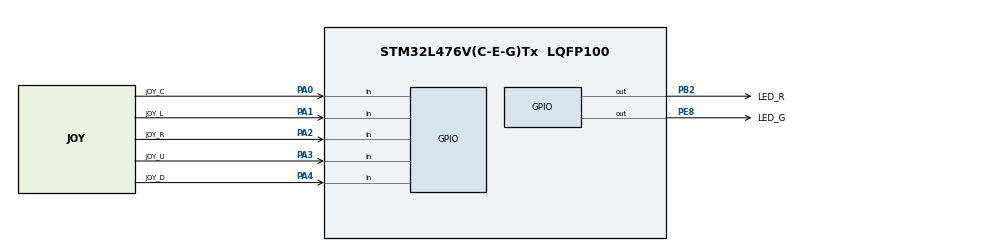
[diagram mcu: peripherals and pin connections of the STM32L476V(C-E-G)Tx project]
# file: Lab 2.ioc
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Mcu.Family=STM32L4
Mcu.Name=STM32L476V(C-E-G)Tx
Mcu.Package=LQFP100
NVIC.PriorityGroup=NVIC_PRIORITYGROUP_4
PA0.GPIO_Label=JOY_C
PA0.GPIO_PuPd=GPIO_PULLDOWN
PA0.Signal=GPIO_Input
PA1.GPIO_Label=JOY_L
PA1.GPIO_PuPd=GPIO_PULLDOWN
PA1.Signal=GPIO_Input
PA2.GPIO_Label=JOY_R
PA2.GPIO_PuPd=GPIO_PULLDOWN
PA2.Signal=GPIO_Input
PA3.GPIO_Label=JOY_U
PA3.GPIO_PuPd=GPIO_PULLDOWN
PA3.Signal=GPIO_Input
PA4.GPIO_Label=JOY_D
PA4.GPIO_PuPd=GPIO_PULLDOWN
PA4.Signal=GPIO_Input
PB2.GPIO_Label=LED_R
PB2.GPIO_ModeDefaultOutputPP=GPIO_MODE_OUTPUT_PP
PB2.PinState=GPIO_PIN_SET
PB2.Signal=GPIO_Output
PE8.GPIO_Label=LED_G
PE8.PinState=GPIO_PIN_SET
PE8.Signal=GPIO_Output
ProjectManager.HeapSize=0x200
ProjectManager.StackSize=0x400
ProjectManager.TargetToolchain=MDK-ARM V5
RCC.HSE_VALUE=8000000
RCC.HSI_VALUE=16000000
RCC.LSE_VALUE=32768
RCC.MSI_VALUE=4000000
RCC.VCOOutputFreq_Value=32000000
board=custom

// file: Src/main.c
/* USER CODE BEGIN Header */
/**
  ******************************************************************************
  * @file           : main.c
  * @brief          : Main program body
  ******************************************************************************
  ** This notice applies to any and all portions of this file
  * that are not between comment pairs USER CODE BEGIN and
  * USER CODE END. Other portions of this file, whether
  * inserted by the user or by software development tools
  * are owned by their respective copyright owners.
  *
  * COPYRIGHT(c) 2019 STMicroelectronics
  *
  * Redistribution and use in source and binary forms, with or without modification,
  * are permitted provided that the following conditions are met:
  *   1. Redistributions of source code must retain the above copyright notice,
  *      this list of conditions and the following disclaimer.
  *   2. Redistributions in binary form must reproduce the above copyright notice,
  *      this list of conditions and the following disclaimer in the documentation
  *      and/or other materials provided with the distribution.
  *   3. Neither the name of STMicroelectronics nor the names of its contributors
  *      may be used to endorse or promote products derived from this software
  *      without specific prior written permission.
  *
  * THIS SOFTWARE IS PROVIDED BY THE COPYRIGHT HOLDERS AND CONTRIBUTORS "AS IS"
  * AND ANY EXPRESS OR IMPLIED WARRANTIES, INCLUDING, BUT NOT LIMITED TO, THE
  * IMPLIED WARRANTIES OF MERCHANTABILITY AND FITNESS FOR A PARTICULAR PURPOSE ARE
  * DISCLAIMED. IN NO EVENT SHALL THE COPYRIGHT HOLDER OR CONTRIBUTORS BE LIABLE
  * FOR ANY DIRECT, INDIRECT, INCIDENTAL, SPECIAL, EXEMPLARY, OR CONSEQUENTIAL
  * DAMAGES (INCLUDING, BUT NOT LIMITED TO, PROCUREMENT OF SUBSTITUTE GOODS OR
  * SERVICES; LOSS OF USE, DATA, OR PROFITS; OR BUSINESS INTERRUPTION) HOWEVER
  * CAUSED AND ON ANY THEORY OF LIABILITY, WHETHER IN CONTRACT, STRICT LIABILITY,
  * OR TORT (INCLUDING NEGLIGENCE OR OTHERWISE) ARISING IN ANY WAY OUT OF THE USE
  * OF THIS SOFTWARE, EVEN IF ADVISED OF THE POSSIBILITY OF SUCH DAMAGE.
  *
  ******************************************************************************
  */
/* USER CODE END Header */

#include "main.h"

void SystemClock_Config(void);
static void MX_GPIO_Init(void);

int main(void)
{

  /* MCU Configuration--------------------------------------------------------*/

  /* Reset of all peripherals, Initializes the Flash interface and the Systick. */
  HAL_Init();

  /* Configure the system clock */
  SystemClock_Config();

  /* Initialize all configured peripherals */
  MX_GPIO_Init();

  /* Infinite loop */
  while (1)
  {

    /* USER CODE BEGIN 3 */
		//Logical 1 turns LED ON and logical 0 corresponds to OFF
		//If the user is pressing the joystick's "UP" Button
		if(HAL_GPIO_ReadPin(JOY_U_GPIO_Port, JOY_U_Pin)){
			//Enable both LEDs and wait 2000ms
			HAL_GPIO_WritePin(LED_R_GPIO_Port, LED_R_Pin, GPIO_PIN_SET);
			HAL_GPIO_WritePin(LED_G_GPIO_Port, LED_G_Pin, GPIO_PIN_SET);
			HAL_Delay(2000);
		}
		//If the user is pressing the joystick's "DOWN" Button
		else if(HAL_GPIO_ReadPin(JOY_D_GPIO_Port, JOY_D_Pin)){
			//Disable both LEDS and wait 2000ms
			HAL_GPIO_WritePin(LED_R_GPIO_Port, LED_R_Pin, GPIO_PIN_RESET);
			HAL_GPIO_WritePin(LED_G_GPIO_Port, LED_G_Pin, GPIO_PIN_RESET);
			HAL_Delay(2000);
		}
		//If the user is pressing the joystick's "LEFT" Button
		else if(HAL_GPIO_ReadPin(JOY_L_GPIO_Port, JOY_L_Pin)){
			//Set the Red LED to be enabled, the green one to be disabled, the wait 2000ms
			HAL_GPIO_WritePin(LED_R_GPIO_Port, LED_R_Pin, GPIO_PIN_SET);
			HAL_GPIO_WritePin(LED_G_GPIO_Port, LED_G_Pin, GPIO_PIN_RESET);
			HAL_Delay(2000);
		}
		//If the user is pressing the joystick's "RIGHT" Button
		else if (HAL_GPIO_ReadPin(JOY_R_GPIO_Port, JOY_R_Pin)){
			//Set the Red LED to be disabled, the green one to be enabled, the wait 2000ms
			HAL_GPIO_WritePin(LED_R_GPIO_Port, LED_R_Pin, GPIO_PIN_RESET);
			HAL_GPIO_WritePin(LED_G_GPIO_Port, LED_G_Pin, GPIO_PIN_SET);
			HAL_Delay(2000);
		}
		//If the user is pressing the joystick's "CENTER" Button
		else if (HAL_GPIO_ReadPin(JOY_C_GPIO_Port, JOY_C_Pin)){
			//Set both LEDS to be inactive
			HAL_GPIO_WritePin(LED_R_GPIO_Port, LED_R_Pin, GPIO_PIN_RESET);
			HAL_GPIO_WritePin(LED_G_GPIO_Port, LED_G_Pin, GPIO_PIN_RESET);
			//While 2000ms have not elapsed...
			for(int i = 0; i < 2000; i += 200){
				//Toggle Both LEDS, then wait 200ms
				HAL_GPIO_TogglePin(LED_R_GPIO_Port, LED_R_Pin);
				HAL_GPIO_TogglePin(LED_G_GPIO_Port, LED_G_Pin);
				HAL_Delay(200);
			}
		}
		//Otherwise, continuously toggle the LEDs
		else {
			// Toggle the red LED, wait 100ms, then toggle the green LED
			HAL_GPIO_TogglePin(LED_R_GPIO_Port, LED_R_Pin);
			HAL_Delay(100);
			HAL_GPIO_TogglePin(LED_G_GPIO_Port, LED_G_Pin);
			HAL_Delay(100);
		}

	}
	/* USER CODE END 3 */
}

void SystemClock_Config(void)
{
	RCC_OscInitTypeDef RCC_OscInitStruct = {0};
	RCC_ClkInitTypeDef RCC_ClkInitStruct = {0};

	/**Initializes the CPU, AHB and APB busses clocks
	*/
	RCC_OscInitStruct.OscillatorType = RCC_OSCILLATORTYPE_MSI;
	RCC_OscInitStruct.MSIState = RCC_MSI_ON;
	RCC_OscInitStruct.MSICalibrationValue = 0;
	RCC_OscInitStruct.MSIClockRange = RCC_MSIRANGE_6;
	RCC_OscInitStruct.PLL.PLLState = RCC_PLL_NONE;
	if (HAL_RCC_OscConfig(&RCC_OscInitStruct) != HAL_OK)
	{
		Error_Handler();
	}
	/**Initializes the CPU, AHB and APB busses clocks
	*/
	RCC_ClkInitStruct.ClockType = RCC_CLOCKTYPE_HCLK|RCC_CLOCKTYPE_SYSCLK
															|RCC_CLOCKTYPE_PCLK1|RCC_CLOCKTYPE_PCLK2;
	RCC_ClkInitStruct.SYSCLKSource = RCC_SYSCLKSOURCE_MSI;
	RCC_ClkInitStruct.AHBCLKDivider = RCC_SYSCLK_DIV1;
	RCC_ClkInitStruct.APB1CLKDivider = RCC_HCLK_DIV1;
	RCC_ClkInitStruct.APB2CLKDivider = RCC_HCLK_DIV1;

	if (HAL_RCC_ClockConfig(&RCC_ClkInitStruct, FLASH_LATENCY_0) != HAL_OK)
	{
		Error_Handler();
	}
	/**Configure the main internal regulator output voltage
	*/
	if (HAL_PWREx_ControlVoltageScaling(PWR_REGULATOR_VOLTAGE_SCALE1) != HAL_OK)
	{
		Error_Handler();
	}
}

static void MX_GPIO_Init(void)
{
	GPIO_InitTypeDef GPIO_InitStruct = {0};

	/* GPIO Ports Clock Enable */
	__HAL_RCC_GPIOA_CLK_ENABLE();
	__HAL_RCC_GPIOB_CLK_ENABLE();
	__HAL_RCC_GPIOE_CLK_ENABLE();

	/*Configure GPIO pin Output Level */
	HAL_GPIO_WritePin(LED_R_GPIO_Port, LED_R_Pin, GPIO_PIN_SET);

	/*Configure GPIO pin Output Level */
	HAL_GPIO_WritePin(LED_G_GPIO_Port, LED_G_Pin, GPIO_PIN_SET);

	/*Configure GPIO pins : JOY_C_Pin JOY_L_Pin JOY_R_Pin JOY_U_Pin
													 JOY_D_Pin */
	GPIO_InitStruct.Pin = JOY_C_Pin|JOY_L_Pin|JOY_R_Pin|JOY_U_Pin
													|JOY_D_Pin;
	GPIO_InitStruct.Mode = GPIO_MODE_INPUT;
	GPIO_InitStruct.Pull = GPIO_PULLDOWN;
	HAL_GPIO_Init(GPIOA, &GPIO_InitStruct);

	/*Configure GPIO pin : LED_R_Pin */
	GPIO_InitStruct.Pin = LED_R_Pin;
	GPIO_InitStruct.Mode = GPIO_MODE_OUTPUT_PP;
	GPIO_InitStruct.Pull = GPIO_NOPULL;
	GPIO_InitStruct.Speed = GPIO_SPEED_FREQ_LOW;
	HAL_GPIO_Init(LED_R_GPIO_Port, &GPIO_InitStruct);

	/*Configure GPIO pin : LED_G_Pin */
	GPIO_InitStruct.Pin = LED_G_Pin;
	GPIO_InitStruct.Mode = GPIO_MODE_OUTPUT_PP;
	GPIO_InitStruct.Pull = GPIO_NOPULL;
	GPIO_InitStruct.Speed = GPIO_SPEED_FREQ_LOW;
	HAL_GPIO_Init(LED_G_GPIO_Port, &GPIO_InitStruct);

}

void Error_Handler(void)
{
}

/************************ (C) COPYRIGHT STMicroelectronics *****END OF FILE****/
